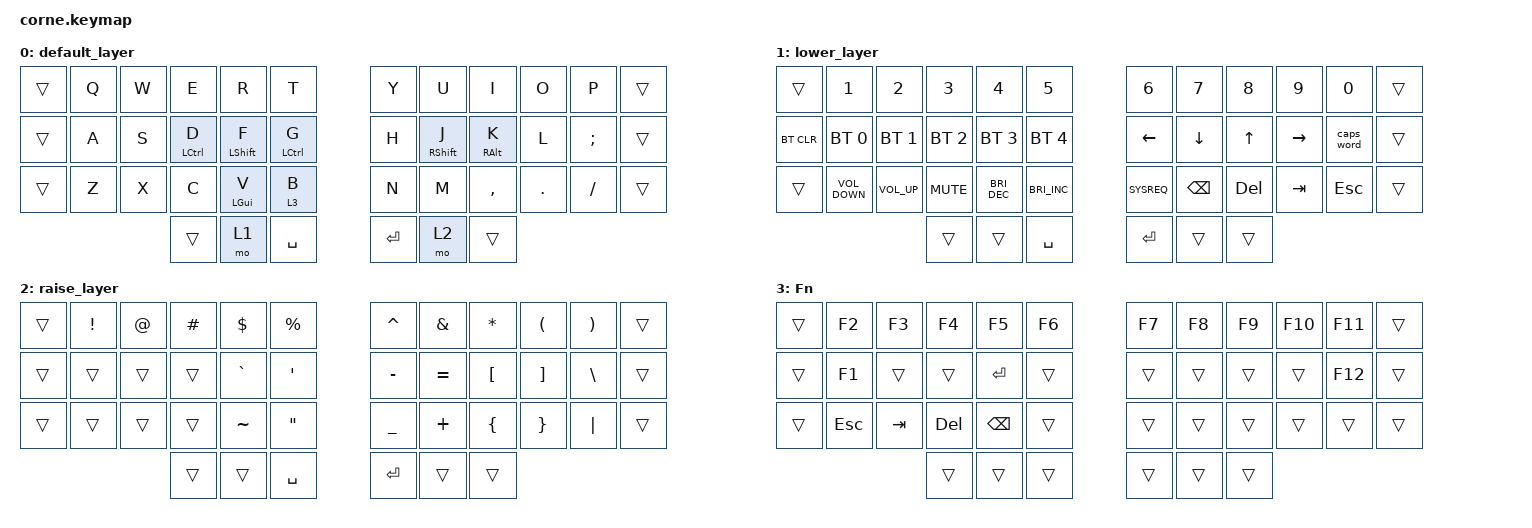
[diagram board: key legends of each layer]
/*
 * Copyright (c) 2020 The ZMK Contributors
 *
 * SPDX-License-Identifier: MIT
 */

#include <behaviors.dtsi>
#include <dt-bindings/zmk/bt.h>
#include <dt-bindings/zmk/keys.h>

/ {
    keymap {
        compatible = "zmk,keymap";

        default_layer {
            bindings = <
&trans  &kp Q  &kp W  &kp E        &kp R         &kp T          &kp Y    &kp U         &kp I       &kp O    &kp P          &trans
&trans  &kp A  &kp S  &mt LCTRL D  &mt LSHIFT F  &mt LCTRL G    &kp H    &mt RSHIFT J  &mt RALT K  &kp L    &kp SEMICOLON  &trans
&trans  &kp Z  &kp X  &kp C        &mt LGUI V    &lt 3 B        &kp N    &kp M         &kp COMMA   &kp DOT  &kp FSLH       &trans
                      &trans       &mo 1         &kp SPACE      &kp RET  &mo 2         &trans
            >;
        };

        lower_layer {
            bindings = <
&trans      &kp N1             &kp N2           &kp N3        &kp N4                &kp N5                  &kp N6      &kp N7         &kp N8   &kp N9     &kp N0      &trans
&bt BT_CLR  &bt BT_SEL 0       &bt BT_SEL 1     &bt BT_SEL 2  &bt BT_SEL 3          &bt BT_SEL 4            &kp LEFT    &kp DOWN       &kp UP   &kp RIGHT  &caps_word  &trans
&trans      &kp C_VOLUME_DOWN  &kp C_VOLUME_UP  &kp K_MUTE    &kp C_BRIGHTNESS_DEC  &kp C_BRIGHTNESS_INC    &kp SYSREQ  &kp BACKSPACE  &kp DEL  &kp TAB    &kp ESCAPE  &trans
                                                &trans        &trans                &kp SPACE               &kp RET     &trans         &trans
            >;
        };

        raise_layer {
            bindings = <
&trans  &kp EXCL  &kp AT  &kp HASH  &kp DLLR   &kp PRCNT            &kp CARET  &kp AMPS   &kp ASTRK  &kp LPAR  &kp RPAR  &trans
&trans  &trans    &trans  &trans    &kp GRAVE  &kp SQT              &kp MINUS  &kp EQUAL  &kp LBKT   &kp RBKT  &kp BSLH  &trans
&trans  &trans    &trans  &trans    &kp TILDE  &kp DOUBLE_QUOTES    &kp UNDER  &kp PLUS   &kp LBRC   &kp RBRC  &kp PIPE  &trans
                          &trans    &trans     &kp SPACE            &kp RET    &trans     &trans
            >;
        };

        Fn {
            bindings = <
&trans  &kp F2   &kp F3   &kp F4   &kp F5         &kp F6    &kp F7  &kp F8  &kp F9  &kp F10  &kp F11  &trans
&trans  &kp F1   &trans   &trans   &kp ENTER      &trans    &trans  &trans  &trans  &trans   &kp F12  &trans
&trans  &kp ESC  &kp TAB  &kp DEL  &kp BACKSPACE  &trans    &trans  &trans  &trans  &trans   &trans   &trans
                          &trans   &trans         &trans    &trans  &trans  &trans
            >;
        };
    };
};
